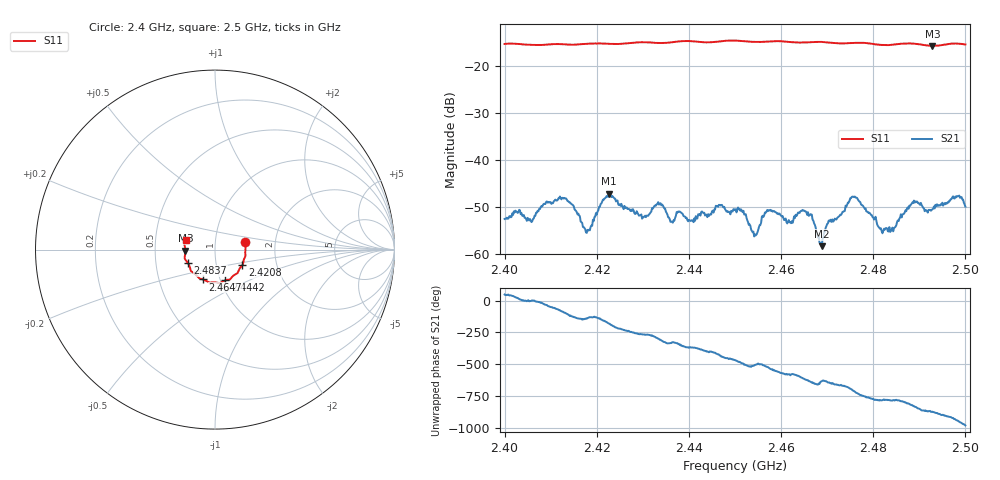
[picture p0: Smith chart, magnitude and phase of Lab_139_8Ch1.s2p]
# Hz S RI R 50
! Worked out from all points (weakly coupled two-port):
!   601 points, 2.4 GHz to 2.5 GHz, reference 50 ohm
!   highest |S21| = -47.20 dB at 2.4227 GHz (marker M1); lowest = -58.4 dB at 2.4688 GHz (marker M2)
!   lowest |S11| = -15.6 dB at 2.4928 GHz (marker M3), VSWR 1.40, Z = 35.8 - j0.38 ohm
!   |S11| at or under -10 dB: start of sweep to end of sweep
!   S12 and S22 are empty: the file has one direction only
!   S11 on the Smith chart (normalised r, x): 2.4 GHz: 1.40, +0.12; 2.4208 GHz: 1.33, -0.24; 2.4442 GHz: 1.05, -0.37; 2.4647 GHz: 0.83, -0.29; 2.4837 GHz: 0.73, -0.11; 2.5 GHz: 0.72, +0.08
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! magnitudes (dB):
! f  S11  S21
! 2.4 GHz  -15.2  -52.6
! 2.4125 GHz  -15.3  -48.1
! 2.4167 GHz  -15.3  -53.3
! 2.4182 GHz  -15.2  -55.1
! 2.4208 GHz  -15.1  -49.4
! 2.4227 GHz  -15.2  -47.2
! 2.4303 GHz  -14.8  -52.1
! 2.4333 GHz  -15.0  -49.0
! 2.4363 GHz  -14.9  -53.2
! 2.4442 GHz  -14.9  -51.6
! 2.45 GHz  -14.5  -50.5
! 2.4543 GHz  -14.8  -55.9
! 2.4572 GHz  -14.7  -50.9
! 2.4647 GHz  -14.9  -50.7
! 2.4667 GHz  -14.8  -51.7
! 2.4688 GHz  -14.8  -58.4
! 2.4755 GHz  -15.0  -47.8
! 2.4833 GHz  -15.5  -55.3
! 2.4837 GHz  -15.4  -55.3
! 2.4888 GHz  -15.2  -48.7
! 2.4928 GHz  -15.6  -50.5
! 2.5 GHz  -15.3  -50.0
